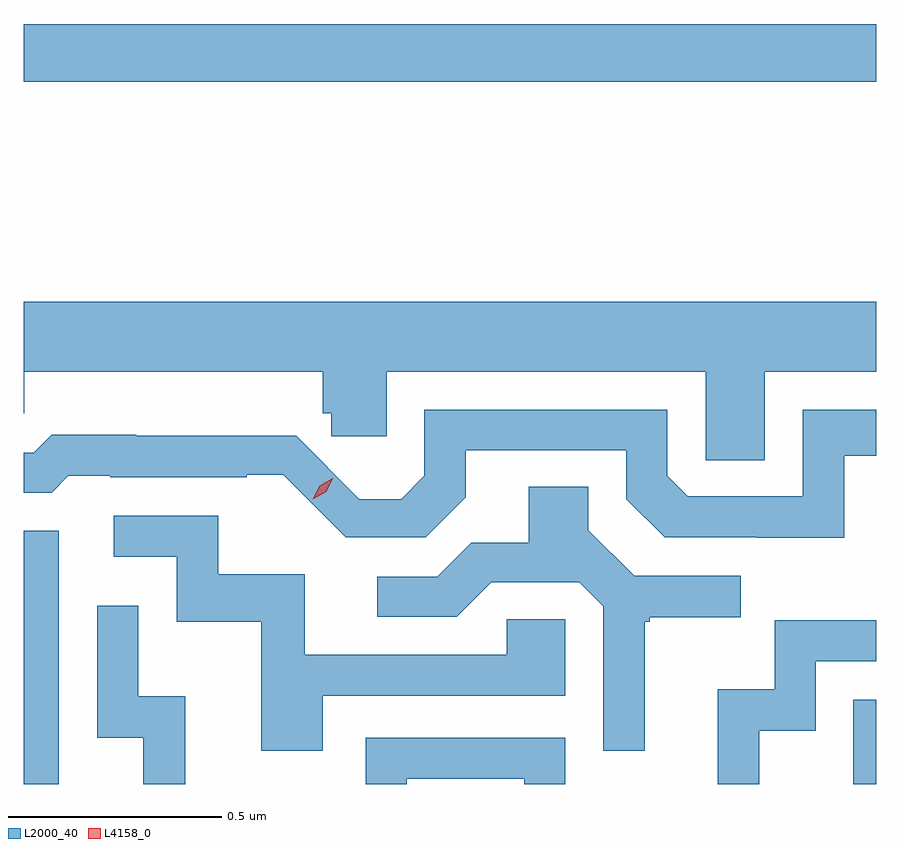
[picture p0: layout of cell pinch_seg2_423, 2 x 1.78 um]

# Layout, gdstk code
import gdstk
lib = gdstk.Library(unit=1e-6, precision=1e-09)
def R(c, l, rs):  # rectangles x0, y0, x1, y1
    for r in rs: c.add(gdstk.rectangle(r[:2], r[2:], *l))
def P(c, l, *ps):  # polygons
    for p in ps: c.add(gdstk.Polygon(p, *l))
L2000_40 = (2000, 40)
L4158_0 = (4158, 0)

pinch_seg2_423 = lib.new_cell('pinch_seg2_423')
R(pinch_seg2_423, L2000_40, [(997.904,612.036,997.986,612.63), (999.85,612.036,999.904,612.234), (997.904,613.684,999.904,613.82)])
P(pinch_seg2_423, L2000_40, [(999.643,613.004),(999.904,613.004),(999.904,613.168),(997.904,613.168),(997.904,612.906),(997.905,612.906),(997.905,613.004),(998.605,613.004),(998.605,612.906),(998.625,612.906),(998.625,612.852),(998.755,612.852),(998.755,613.004),(999.504,613.004),(999.504,612.796),(999.643,612.796)],
  [(999.829,612.807),(999.904,612.807),(999.904,612.915),(999.732,612.915),(999.732,612.711),(999.462,612.711),(999.414,612.759),(999.414,612.915),(998.844,612.915),(998.844,612.759),(998.79,612.705),(998.691,612.705),(998.543,612.853),(998.168,612.853),(998.168,612.856),(997.969,612.856),(997.927,612.813),(997.904,612.813),(997.904,612.72),(997.969,612.72),(998.008,612.759),(998.107,612.759),(998.107,612.756),(998.427,612.756),(998.427,612.762),(998.512,612.762),(998.659,612.615),(998.847,612.615),(998.941,612.709),(998.941,612.819),(999.318,612.819),(999.318,612.705),(999.408,612.615),(999.624,612.615),(999.624,612.614),(999.829,612.614)],
  [(999.361,612.417),(999.373,612.417),(999.373,612.428),(999.586,612.428),(999.586,612.525),(999.336,612.525),(999.229,612.632),(999.229,612.734),(999.089,612.734),(999.089,612.602),(998.954,612.602),(998.874,612.522),(998.733,612.522),(998.733,612.429),(998.92,612.429),(999.001,612.51),(999.207,612.51),(999.264,612.453),(999.264,612.114),(999.361,612.114)],
  [(998.605,612.243),(999.174,612.243),(999.174,612.423),(999.037,612.423),(999.037,612.339),(998.563,612.339),(998.563,612.528),(998.36,612.528),(998.36,612.666),(998.115,612.666),(998.115,612.57),(998.262,612.57),(998.262,612.417),(998.461,612.417),(998.461,612.114),(998.605,612.114)],
  [(998.282,612.242),(998.172,612.242),(998.172,612.454),(998.076,612.454),(998.076,612.144),(998.184,612.144),(998.184,612.036),(998.282,612.036)],
  [(999.63,612.161),(999.762,612.161),(999.762,612.324),(999.904,612.324),(999.904,612.42),(999.666,612.42),(999.666,612.259),(999.533,612.259),(999.533,612.036),(999.63,612.036)],
  [(998.802,612.048),(999.078,612.048),(999.078,612.036),(999.174,612.036),(999.174,612.144),(998.706,612.144),(998.706,612.036),(998.802,612.036)])
P(pinch_seg2_423, L4158_0, [(998.582,612.704),(998.582,612.704),(998.598,612.736),(998.629,612.754),(998.629,612.754),(998.629,612.754),(998.613,612.722),(998.582,612.704)])

lib.write_gds('pinch_seg2_423.gds')
